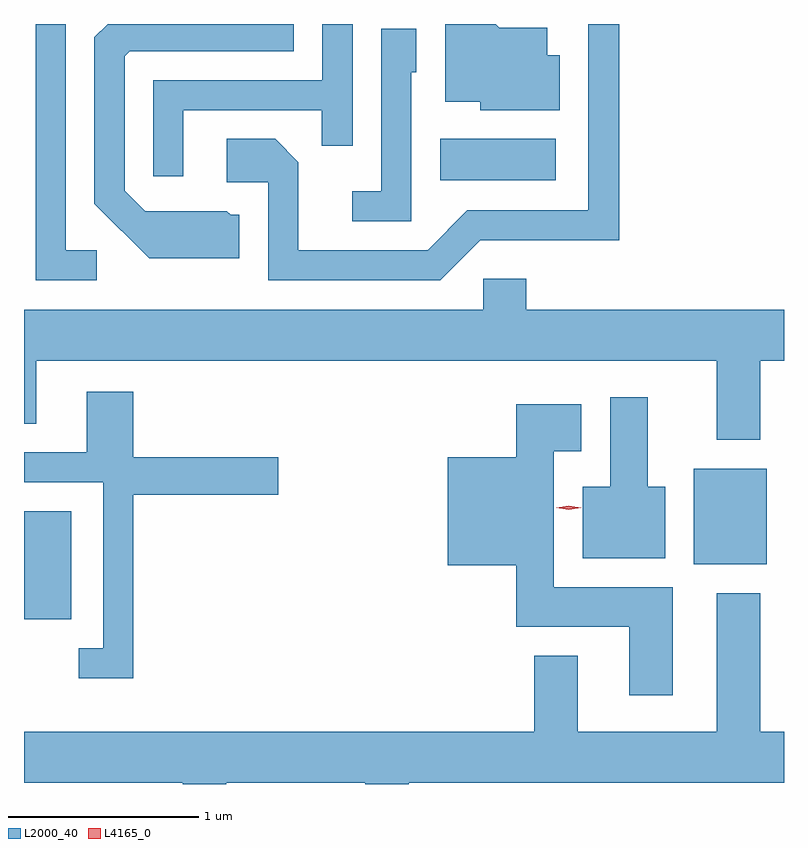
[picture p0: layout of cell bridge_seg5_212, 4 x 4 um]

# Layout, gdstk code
import gdstk
lib = gdstk.Library(unit=1e-6, precision=1e-09)
def R(c, l, rs):  # rectangles x0, y0, x1, y1
    for r in rs: c.add(gdstk.rectangle(r[:2], r[2:], *l))
def P(c, l, *ps):  # polygons
    for p in ps: c.add(gdstk.Polygon(p, *l))
L2000_40 = (2000, 40)
L4165_0 = (4165, 0)

bridge_seg5_212 = lib.new_cell('bridge_seg5_212')
R(bridge_seg5_212, L2000_40, [(1325.665,1413.256,1325.914,1413.824), (1329.191,1413.546,1329.574,1414.049), (1327.856,1415.566,1328.464,1415.784)])
P(bridge_seg5_212, L2000_40, [(1328.067,1415.251),(1328.799,1415.251),(1328.799,1416.389),(1328.636,1416.389),(1328.636,1415.409),(1327.999,1415.409),(1327.789,1415.199),(1327.109,1415.199),(1327.109,1415.662),(1326.987,1415.784),(1326.731,1415.784),(1326.731,1415.556),(1326.951,1415.556),(1326.951,1415.041),(1327.857,1415.041)],
  [(1326.048,1415.199),(1325.884,1415.199),(1325.884,1416.389),(1325.726,1416.389),(1325.726,1415.041),(1326.048,1415.041)],
  [(1326.799,1415.384),(1326.752,1415.384),(1326.732,1415.404),(1326.302,1415.404),(1326.194,1415.512),(1326.194,1416.219),(1326.222,1416.246),(1327.084,1416.246),(1327.084,1416.389),(1326.107,1416.389),(1326.036,1416.319),(1326.036,1415.444),(1326.324,1415.156),(1326.799,1415.156)],
  [(1326.504,1415.936),(1327.231,1415.936),(1327.231,1415.748),(1327.394,1415.748),(1327.394,1416.389),(1327.236,1416.389),(1327.236,1416.094),(1326.346,1416.094),(1326.346,1415.588),(1326.504,1415.588)],
  [(1328.484,1416.224),(1328.419,1416.224),(1328.419,1416.369),(1328.167,1416.369),(1328.147,1416.389),(1327.881,1416.389),(1327.881,1415.981),(1328.066,1415.981),(1328.066,1415.936),(1328.484,1415.936)],
  [(1327.704,1416.136),(1327.729,1416.136),(1327.729,1416.364),(1327.546,1416.364),(1327.546,1415.509),(1327.393,1415.509),(1327.393,1415.351),(1327.704,1415.351)],
  [(1329.539,1414.616),(1329.665,1414.616),(1329.665,1414.884),(1328.309,1414.884),(1328.309,1415.049),(1328.081,1415.049),(1328.081,1414.884),(1325.665,1414.884),(1325.665,1414.286),(1325.729,1414.286),(1325.729,1414.616),(1329.311,1414.616),(1329.311,1414.201),(1329.539,1414.201)],
  [(1326.239,1413.911),(1327.004,1413.911),(1327.004,1414.109),(1326.239,1414.109),(1326.239,1414.454),(1325.996,1414.454),(1325.996,1414.134),(1325.665,1414.134),(1325.665,1413.976),(1326.081,1413.976),(1326.081,1413.104),(1325.953,1413.104),(1325.953,1412.946),(1326.239,1412.946)],
  [(1329.039,1413.954),(1328.949,1413.954),(1328.949,1414.424),(1328.751,1414.424),(1328.751,1413.954),(1328.606,1413.954),(1328.606,1413.576),(1329.039,1413.576)],
  [(1329.079,1413.424),(1328.454,1413.424),(1328.454,1414.141),(1328.599,1414.141),(1328.599,1414.389),(1328.256,1414.389),(1328.256,1414.109),(1327.896,1414.109),(1327.896,1413.541),(1328.256,1413.541),(1328.256,1413.216),(1328.851,1413.216),(1328.851,1412.856),(1329.079,1412.856)],
  [(1326.729,1412.396),(1327.461,1412.396),(1327.461,1412.389),(1327.689,1412.389),(1327.689,1412.396),(1329.665,1412.396),(1329.665,1412.664),(1329.539,1412.664),(1329.539,1413.394),(1329.311,1413.394),(1329.311,1412.664),(1328.579,1412.664),(1328.579,1413.064),(1328.351,1413.064),(1328.351,1412.664),(1325.665,1412.664),(1325.665,1412.396),(1326.501,1412.396),(1326.501,1412.389),(1326.729,1412.389)])
P(bridge_seg5_212, L4165_0, [(1328.532,1413.833),(1328.466,1413.843),(1328.466,1413.843),(1328.466,1413.844),(1328.532,1413.853),(1328.598,1413.844),(1328.598,1413.843),(1328.598,1413.843)])

lib.write_gds('bridge_seg5_212.gds')
